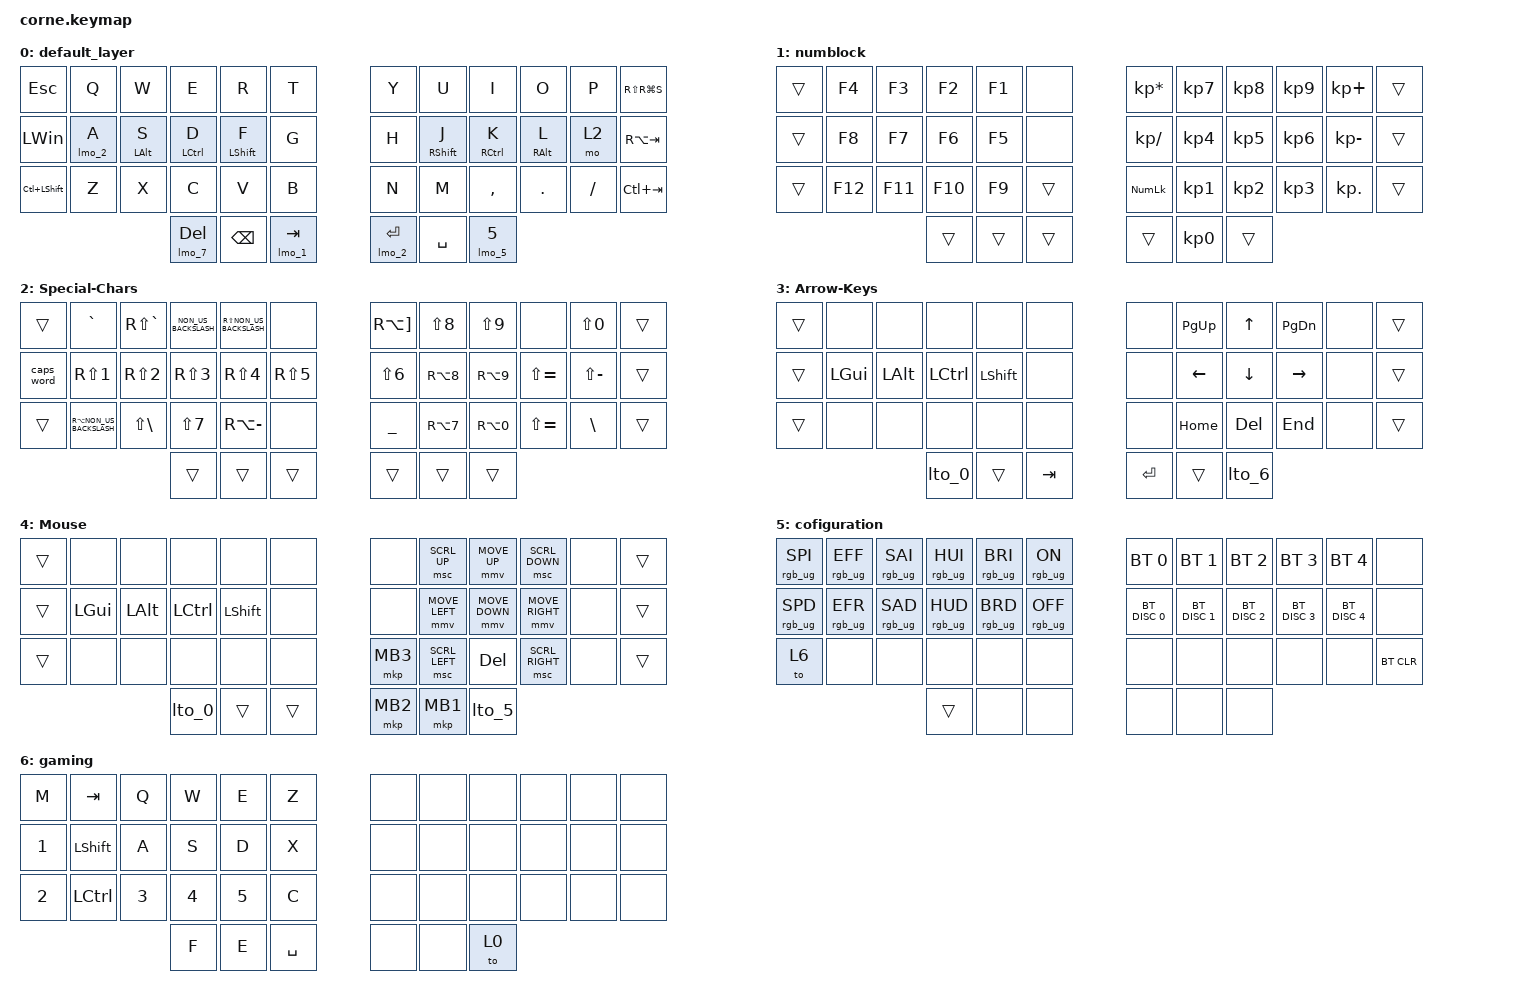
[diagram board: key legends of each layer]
/*
 * Copyright (c) 2020 The ZMK Contributors
 *
 * SPDX-License-Identifier: MIT
 */

#include <../boards/shields/corne/boards/nice_nano.overlay>
#include <behaviors.dtsi>
#include <dt-bindings/zmk/bt.h>
#include <dt-bindings/zmk/keys.h>
#include <dt-bindings/zmk/pointing.h>
#include <dt-bindings/zmk/rgb.h>

#define ZMK_POINTING_DEFAULT_MOVE_VAL 1100

&led_strip { chain-length = <27>; };

/ {
    behaviors {
        hml: hml {
            compatible = "zmk,behavior-hold-tap";
            label = "HML";
            bindings = <&kp>, <&kp>;

            #binding-cells = <2>;
            tapping-term-ms = <200>;
            hold-trigger-key-positions = <6 7 8 9 10 18 19 21 30 32 20 31 33 34 38>;
            flavor = "balanced";
        };

        hmr: hmr {
            compatible = "zmk,behavior-hold-tap";
            label = "HMR";
            bindings = <&kp>, <&kp>;

            #binding-cells = <2>;
            tapping-term-ms = <200>;
            hold-trigger-key-positions = <1 2 3 4 5 13 25 26 29 14 17 27 16 15 28>;
            flavor = "balanced";
        };

        htlayer: htlayer {
            compatible = "zmk,behavior-hold-tap";
            label = "HTLAYER";
            bindings = <&mo>, <&lto_5>;

            #binding-cells = <2>;
            tapping-term-ms = <200>;
            flavor = "balanced";
        };

        blmo_1: blmo_1 {
            compatible = "zmk,behavior-hold-tap";
            label = "BLMO_1";
            bindings = <&lmo_1>, <&kp>;

            #binding-cells = <2>;
            tapping-term-ms = <200>;
            flavor = "balanced";
        };

        blmo_2: blmo_2 {
            compatible = "zmk,behavior-hold-tap";
            label = "BLMO_2";
            bindings = <&lmo_2>, <&kp>;

            #binding-cells = <2>;
            tapping-term-ms = <200>;
            flavor = "balanced";
        };

        blmo_5: blmo_5 {
            compatible = "zmk,behavior-hold-tap";
            label = "BLMO_5";
            bindings = <&lmo_5>, <&lto_5>;

            #binding-cells = <2>;
            tapping-term-ms = <200>;
            flavor = "balanced";
        };

        blmo_7: blmo_7 {
            compatible = "zmk,behavior-hold-tap";
            label = "BLMO_7";
            bindings = <&lmo_7>, <&kp>;

            #binding-cells = <2>;
            tapping-term-ms = <200>;
            flavor = "balanced";
        };

        blmo_2l: blmo_2l {
            compatible = "zmk,behavior-hold-tap";
            label = "BLMO_2L";
            bindings = <&lmo_2>, <&kp>;

            #binding-cells = <2>;
            tapping-term-ms = <200>;
            flavor = "balanced";
            hold-trigger-key-positions = <30 18 6 7 19 31 32 20 8 9 21 33 34 22 10 35 23 11>;
        };

        blmo_2r: blmo_2r {
            compatible = "zmk,behavior-hold-tap";
            label = "BLMO_2R";
            bindings = <&lmo_2>, <&kp>;

            #binding-cells = <2>;
            tapping-term-ms = <200>;
            flavor = "balanced";
            hold-trigger-key-positions = <25 13 1 2 14 26 27 15 3 4 5 17 16 28 29 24 12 0>;
        };

        hml_sens: hml_sens {
            compatible = "zmk,behavior-hold-tap";
            label = "HML_SENS";
            bindings = <&kp>, <&kp>;

            #binding-cells = <2>;
            tapping-term-ms = <200>;
            hold-trigger-key-positions = <6 7 8 9 10 18 19 21 30 32 20 31 33 34 38>;
            flavor = "hold-preferred";
        };

        hmr_sens: hmr_sens {
            compatible = "zmk,behavior-hold-tap";
            label = "HMR_SENS";
            bindings = <&kp>, <&kp>;

            #binding-cells = <2>;
            tapping-term-ms = <200>;
            hold-trigger-key-positions = <1 2 3 4 5 13 25 26 29 14 17 27 16 15 28>;
            flavor = "hold-preferred";
        };
    };

    macros {
        lto_0: lon0 {
            compatible = "zmk,behavior-macro";
            #binding-cells = <0>;
            bindings =
                <&macro_tap>,
                <&rgb_ug RGB_COLOR_HSB(66,100,51)>,
                <&macro_tap>,
                <&to 0>;

            label = "LON0";
        };

        lto_5: lon1 {
            compatible = "zmk,behavior-macro";
            #binding-cells = <0>;
            bindings =
                <&macro_tap>,
                <&rgb_ug RGB_COLOR_HSB(190,100,50)>,
                <&macro_tap>,
                <&to 3>;

            label = "LON1";
        };

        lto_6: lon6 {
            compatible = "zmk,behavior-macro";
            #binding-cells = <0>;
            bindings =
                <&macro_tap>,
                <&rgb_ug RGB_COLOR_HSB(295,100,50)>,
                <&macro_tap>,
                <&to 4>;

            label = "LON6";
        };

        lmo_5: lmo_5 {
            compatible = "zmk,behavior-macro";
            #binding-cells = <0>;
            bindings =
                <&macro_press>,
                <&mo 3>,
                <&macro_tap>,
                <&rgb_ug RGB_COLOR_HSB(190,100,50)>,
                <&macro_pause_for_release>,
                <&macro_release>,
                <&mo 3>,
                <&macro_tap>,
                <&rgb_ug RGB_COLOR_HSB(66,100,51)>;

            label = "LMO_5";
        };

        lmo_1: lmo_1 {
            compatible = "zmk,behavior-macro";
            #binding-cells = <0>;
            bindings =
                <&macro_press>,
                <&mo 1>,
                <&macro_tap>,
                <&rgb_ug RGB_COLOR_HSB(28,100,50)>,
                <&macro_pause_for_release>,
                <&macro_release>,
                <&mo 1>,
                <&macro_tap>,
                <&rgb_ug RGB_COLOR_HSB(66,100,51)>;

            label = "LMO_1";
        };

        lmo_2: lmo_2 {
            compatible = "zmk,behavior-macro";
            #binding-cells = <0>;
            bindings =
                <&macro_press>,
                <&mo 2>,
                <&macro_tap>,
                <&rgb_ug RGB_COLOR_HSB(0,100,50)>,
                <&macro_pause_for_release>,
                <&macro_release>,
                <&mo 2>,
                <&macro_tap>,
                <&rgb_ug RGB_COLOR_HSB(66,100,51)>;

            label = "LMO_2";
        };

        lmo_7: lmo_7 {
            compatible = "zmk,behavior-macro";
            #binding-cells = <0>;
            bindings =
                <&macro_press>,
                <&mo 5>,
                <&macro_tap>,
                <&rgb_ug RGB_COLOR_HSB(16,0,41)>,
                <&macro_pause_for_release>,
                <&macro_release>,
                <&mo 5>,
                <&macro_tap>,
                <&rgb_ug RGB_COLOR_HSB(66,100,51)>;

            label = "LMO_7";
        };
    };

    combos {
        compatible = "zmk,combos";

        combo_cut {
            bindings = <&kp LC(X)>;
            key-positions = <14 26>;
            layers = <0 2 4 3>;
            timeout-ms = <25>;
        };

        combo_copy {
            bindings = <&kp LC(C)>;
            key-positions = <27 15>;
            layers = <0 2 4 3>;
            timeout-ms = <25>;
        };

        combo_paste {
            bindings = <&kp LC(V)>;
            key-positions = <16 28>;
            layers = <0 2 3 4>;
            timeout-ms = <25>;
        };

        combo_undo {
            bindings = <&kp LC(Y)>;
            key-positions = <6 18>;
            layers = <0 2 3 4>;
            timeout-ms = <25>;
        };

        combo_select_all {
            bindings = <&kp LC(A)>;
            key-positions = <25 13>;
            layers = <0 2 4 3>;
            timeout-ms = <25>;
        };

        combo_auml {
            bindings = <&kp SINGLE_QUOTE>;
            key-positions = <13 1>;
            layers = <0>;
            timeout-ms = <25>;
        };

        combo_suml {
            bindings = <&kp MINUS>;
            key-positions = <14 2>;
            layers = <0>;
            timeout-ms = <25>;
        };

        combu_uuml {
            bindings = <&kp LBKT>;
            key-positions = <19 7>;
            layers = <0>;
            timeout-ms = <25>;
        };

        combo_ouml {
            bindings = <&kp SEMI>;
            key-positions = <21 9>;
            layers = <0>;
            timeout-ms = <25>;
        };

        b_round_open {
            bindings = <&kp LS(N8)>;
            key-positions = <6 7>;
            layers = <0>;
        };

        b_round_close {
            bindings = <&kp LS(N9)>;
            key-positions = <8 7>;
            layers = <0>;
        };

        b_square_open {
            bindings = <&kp RA(N8)>;
            key-positions = <18 19>;
            layers = <0>;
        };

        b_square_close {
            bindings = <&kp RA(N9)>;
            key-positions = <19 20>;
            layers = <0>;
        };

        b_curley_open {
            bindings = <&kp RA(N7)>;
            key-positions = <30 31>;
            layers = <0>;
        };

        b_curley_close {
            bindings = <&kp RA(N0)>;
            key-positions = <31 32>;
            layers = <0>;
        };

        b_lt {
            bindings = <&kp NON_US_BACKSLASH>;
            key-positions = <4 3>;
            layers = <0>;
        };

        b_gt {
            bindings = <&kp RS(NON_US_BACKSLASH)>;
            key-positions = <4 5>;
            layers = <0>;
        };

        dollar {
            bindings = <&kp RS(NUMBER_4)>;
            key-positions = <16 17>;
        };

        and {
            bindings = <&kp RS(NUMBER_6)>;
            key-positions = <28 29>;
        };
    };

    keymap {
        compatible = "zmk,keymap";

        default_layer {
            // -----------------------------------------------------------------------------------------
            // |  TAB |  Q  |  W  |  E  |  R  |  T  |   |  Y  |  U   |  I  |  O  |  P  | BSPC |
            // | CTRL |  A  |  S  |  D  |  F  |  G  |   |  H  |  J   |  K  |  L  |  ;  |  '   |
            // | SHFT |  Z  |  X  |  C  |  V  |  B  |   |  N  |  M   |  ,  |  .  |  /  | ESC  |
            //                    | GUI | LWR | SPC |   | ENT | RSE  | ALT |

            bindings = <
&kp ESCAPE          &kp Q         &kp W            &kp E                &kp R                   &kp T            &kp Y            &kp U                    &kp I                 &kp O             &kp P     &kp RS(RG(S))
&kp LEFT_WIN        &blmo_2l 0 A  &hml LEFT_ALT S  &hml LEFT_CONTROL D  &hml_sens LEFT_SHIFT F  &kp G            &kp H            &hmr_sens RIGHT_SHIFT J  &hmr RIGHT_CONTROL K  &hmr RIGHT_ALT L  &mo 2     &kp RA(TAB)
&kp LC(LEFT_SHIFT)  &kp Z         &kp X            &kp C                &kp V                   &kp B            &kp N            &kp M                    &kp COMMA             &kp DOT           &kp FSLH  &kp LC(TAB)
                                                   &blmo_7 0 DEL        &kp BACKSPACE           &blmo_1 0 TAB    &blmo_2 0 ENTER  &kp SPACE                &blmo_5 0 5
            >;
        };

        numblock {
            // -----------------------------------------------------------------------------------------
            // |  TAB |  1  |  2  |  3  |  4  |  5  |   |  6  |  7  |  8  |  9  |  0  | BSPC |
            // | BTCLR| BT1 | BT2 | BT3 | BT4 | BT5 |   | LFT | DWN |  UP | RGT |     |      |
            // | SHFT |     |     |     |     |     |   |     |     |     |     |     |      |
            //                    | GUI |     | SPC |   | ENT |     | ALT |

            bindings = <
&trans  &kp F4   &kp F3   &kp F2   &kp F1  &none     &kp KP_MULTIPLY  &kp KP_N7        &kp KP_NUMBER_8  &kp KP_N9  &kp KP_PLUS   &trans
&trans  &kp F8   &kp F7   &kp F6   &kp F5  &none     &kp KP_DIVIDE    &kp KP_N4        &kp KP_N5        &kp KP_N6  &kp KP_MINUS  &trans
&trans  &kp F12  &kp F11  &kp F10  &kp F9  &trans    &kp KP_NUMLOCK   &kp KP_N1        &kp KP_N2        &kp KP_N3  &kp KP_DOT    &trans
                          &trans   &trans  &trans    &trans           &kp KP_NUMBER_0  &trans
            >;
        };

        Special-Chars {
            // -----------------------------------------------------------------------------------------
            // |  TAB |  !  |  @  |  #  |  $  |  %  |   |  ^  |  &  |  *  |  (  |  )  | BSPC |
            // | CTRL |     |     |     |     |     |   |  -  |  =  |  [  |  ]  |  \  |  `   |
            // | SHFT |     |     |     |     |     |   |  _  |  +  |  {  |  }  | "|" |  ~   |
            //                    | GUI |     | SPC |   | ENT |     | ALT |

            bindings = <
&trans      &kp GRAVE                 &kp RS(GRAVE)      &kp NON_US_BACKSLASH  &kp RS(NON_US_BACKSLASH)  &none               &kp RA(RIGHT_BRACKET)  &kp LS(N8)        &kp LS(N9)        &none          &kp LS(NUMBER_0)  &trans
&caps_word  &kp RS(N1)                &kp RS(NUMBER_2)   &kp RS(N3)            &kp RS(N4)                &kp RS(NUMBER_5)    &kp LS(NUMBER_6)       &kp RA(NUMBER_8)  &kp RA(NUMBER_9)  &kp LS(EQUAL)  &kp LS(MINUS)     &trans
&trans      &kp RA(NON_US_BACKSLASH)  &kp LS(BACKSLASH)  &kp LS(NUMBER_7)      &kp RA(MINUS)             &none               &kp UNDER              &kp RA(N7)        &kp RA(NUMBER_0)  &kp LS(EQUAL)  &kp BACKSLASH     &trans
                                                         &trans                &trans                    &trans              &trans                 &trans            &trans
            >;
        };

        Arrow-Keys {
            bindings = <
&trans  &none         &none         &none             &none           &none      &none      &kp PG_UP  &kp UP_ARROW  &kp PG_DN  &none  &trans
&trans  &kp LEFT_GUI  &kp LEFT_ALT  &kp LEFT_CONTROL  &kp LEFT_SHIFT  &none      &none      &kp LEFT   &kp DOWN      &kp RIGHT  &none  &trans
&trans  &none         &none         &none             &none           &none      &none      &kp HOME   &kp DEL       &kp END    &none  &trans
                                    &lto_0            &trans          &kp TAB    &kp ENTER  &trans     &lto_6
            >;
        };

        Mouse {
            bindings = <
&trans  &none         &none         &none             &none           &none     &none     &msc SCRL_UP    &mmv MOVE_UP    &msc SCRL_DOWN   &none  &trans
&trans  &kp LEFT_GUI  &kp LEFT_ALT  &kp LEFT_CONTROL  &kp LEFT_SHIFT  &none     &none     &mmv MOVE_LEFT  &mmv MOVE_DOWN  &mmv MOVE_RIGHT  &none  &trans
&trans  &none         &none         &none             &none           &none     &mkp MB3  &msc SCRL_LEFT  &kp DEL         &msc SCRL_RIGHT  &none  &trans
                                    &lto_0            &trans          &trans    &mkp MB2  &mkp MB1        &lto_5
            >;
        };

        cofiguration {
            bindings = <
&rgb_ug RGB_SPI  &rgb_ug RGB_EFF  &rgb_ug RGB_SAI  &rgb_ug RGB_HUI  &rgb_ug RGB_BRI  &rgb_ug RGB_ON     &bt BT_SEL 0   &bt BT_SEL 1   &bt BT_SEL 2   &bt BT_SEL 3   &bt BT_SEL 4   &none
&rgb_ug RGB_SPD  &rgb_ug RGB_EFR  &rgb_ug RGB_SAD  &rgb_ug RGB_HUD  &rgb_ug RGB_BRD  &rgb_ug RGB_OFF    &bt BT_DISC 0  &bt BT_DISC 1  &bt BT_DISC 2  &bt BT_DISC 3  &bt BT_DISC 4  &none
&to 6            &none            &none            &none            &none            &none              &none          &none          &none          &none          &none          &bt BT_CLR
                                                   &trans           &none            &none              &none          &none          &none
            >;
        };

        gaming {
            bindings = <
&kp M         &kp TAB         &kp Q         &kp W         &kp E   &kp Z        &none  &none  &none  &none  &none  &none
&kp NUMBER_1  &kp LEFT_SHIFT  &kp A         &kp S         &kp D   &kp X        &none  &none  &none  &none  &none  &none
&kp NUMBER_2  &kp LCTRL       &kp NUMBER_3  &kp NUMBER_4  &kp N5  &kp C        &none  &none  &none  &none  &none  &none
                                            &kp F         &kp E   &kp SPACE    &none  &none  &to 0
            >;
        };
    };
};
